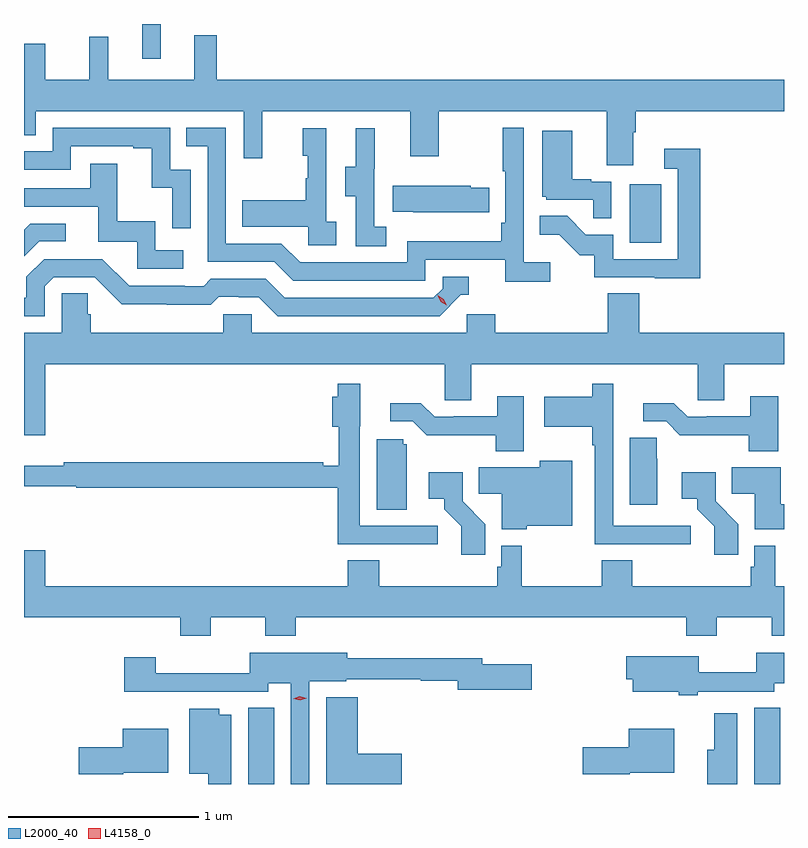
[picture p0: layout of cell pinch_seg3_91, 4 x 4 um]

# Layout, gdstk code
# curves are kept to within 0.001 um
import gdstk
lib = gdstk.Library(unit=1e-6, precision=1e-09)
def R(c, l, rs):  # rectangles x0, y0, x1, y1
    for r in rs: c.add(gdstk.rectangle(r[:2], r[2:], *l))
def P(c, l, *ps):  # polygons
    for p in ps: c.add(gdstk.Polygon(p, *l))
L2000_40 = (2000, 40)
L4158_0 = (4158, 0)

pinch_seg3_91 = lib.new_cell('pinch_seg3_91')
R(pinch_seg3_91, L2000_40, [(1065.338,720.018,1065.475,720.419), (1068.002,720.018,1068.139,720.419), (1067.348,722.868,1067.512,723.175), (1064.781,723.834,1064.878,724.018)])
P(pinch_seg3_91, L2000_40, [(1067.365,723.448),(1067.378,723.448),(1067.378,723.56),(1068.159,723.56),(1068.159,723.724),(1065.173,723.724),(1065.173,723.958),(1065.056,723.958),(1065.056,723.724),(1064.603,723.724),(1064.603,723.952),(1064.503,723.952),(1064.503,723.724),(1064.272,723.724),(1064.272,723.913),(1064.159,723.913),(1064.159,723.433),(1064.22,723.433),(1064.22,723.56),(1065.315,723.56),(1065.315,723.312),(1065.413,723.312),(1065.413,723.56),(1066.193,723.56),(1066.193,723.321),(1066.341,723.321),(1066.341,723.56),(1067.225,723.56),(1067.225,723.274),(1067.365,723.274)],
  [(1066.93,722.764),(1066.788,722.764),(1066.788,723.472),(1066.68,723.472),(1066.68,723.244),(1066.692,723.244),(1066.692,722.971),(1066.672,722.971),(1066.672,722.875),(1066.176,722.875),(1066.176,722.763),(1065.612,722.763),(1065.513,722.862),(1065.222,722.862),(1065.222,723.471),(1065.013,723.471),(1065.013,723.375),(1065.126,723.375),(1065.126,722.766),(1065.476,722.766),(1065.575,722.667),(1066.272,722.667),(1066.272,722.778),(1066.691,722.778),(1066.691,722.662),(1066.93,722.662)],
  [(1065.036,723.252),(1064.928,723.252),(1064.928,723.471),(1064.31,723.471),(1064.31,723.348),(1064.159,723.348),(1064.159,723.252),(1064.406,723.252),(1064.406,723.375),(1064.735,723.375),(1064.735,723.363),(1064.831,723.363),(1064.831,723.155),(1064.94,723.155),(1064.94,722.943),(1065.036,722.943)],
  [(1065.802,722.978),(1065.75,722.978),(1065.75,723.469),(1065.626,723.469),(1065.626,723.324),(1065.652,723.324),(1065.652,723.206),(1065.642,723.206),(1065.642,723.091),(1065.307,723.091),(1065.307,722.951),(1065.654,722.951),(1065.654,722.853),(1065.802,722.853)],
  [(1066.066,722.951),(1066.002,722.951),(1066.002,723.255),(1066.004,723.255),(1066.004,723.469),(1065.905,723.469),(1065.905,723.267),(1065.851,723.267),(1065.851,723.112),(1065.906,723.112),(1065.906,722.848),(1066.066,722.848)],
  [(1067.25,723.189),(1067.144,723.189),(1067.144,723.202),(1067.044,723.202),(1067.044,723.457),(1066.886,723.457),(1066.886,723.108),(1066.908,723.108),(1066.908,723.093),(1067.155,723.093),(1067.155,722.995),(1067.25,722.995)],
  [(1067.717,723.361),(1067.529,723.361),(1067.529,723.255),(1067.601,723.255),(1067.601,722.781),(1067.259,722.781),(1067.259,722.91),(1067.115,722.91),(1067.017,723.008),(1066.873,723.008),(1066.873,722.909),(1066.977,722.909),(1067.084,722.802),(1067.161,722.802),(1067.161,722.685),(1067.479,722.685),(1067.479,722.68),(1067.717,722.68)],
  [(1064.998,722.826),(1064.85,722.826),(1064.85,722.98),(1064.651,722.98),(1064.651,723.283),(1064.507,723.283),(1064.507,723.153),(1064.159,723.153),(1064.159,723.057),(1064.549,723.057),(1064.549,722.871),(1064.754,722.871),(1064.754,722.73),(1064.998,722.73)],
  [(1066.607,723.156),(1066.509,723.156),(1066.509,723.166),(1066.099,723.166),(1066.099,723.029),(1066.207,723.029),(1066.207,723.026),(1066.607,723.026)],
  [(1064.238,722.874),(1064.38,722.874),(1064.38,722.967),(1064.192,722.967),(1064.159,722.934),(1064.159,722.795)],
  [(1064.268,722.637),(1064.316,722.685),(1064.532,722.685),(1064.674,722.543),(1064.91,722.543),(1064.91,722.541),(1065.143,722.541),(1065.185,722.583),(1065.288,722.583),(1065.288,722.58),(1065.395,722.58),(1065.494,722.481),(1066.347,722.481),(1066.458,722.592),(1066.501,722.592),(1066.501,722.688),(1066.362,722.688),(1066.362,722.625),(1066.314,722.577),(1065.531,722.577),(1065.432,722.676),(1065.143,722.676),(1065.104,722.637),(1065.005,722.637),(1065.005,722.64),(1064.712,722.64),(1064.571,722.781),(1064.265,722.781),(1064.171,722.687),(1064.171,722.577),(1064.159,722.577),(1064.159,722.481),(1064.268,722.481)],
  [(1064.159,721.854),(1064.272,721.854),(1064.272,722.228),(1066.374,722.228),(1066.374,722.038),(1066.513,722.038),(1066.513,722.228),(1067.706,722.228),(1067.706,722.038),(1067.845,722.038),(1067.845,722.228),(1068.159,722.228),(1068.159,722.392),(1067.396,722.392),(1067.396,722.6),(1067.231,722.6),(1067.231,722.392),(1066.64,722.392),(1066.64,722.49),(1066.488,722.49),(1066.488,722.392),(1065.357,722.392),(1065.357,722.49),(1065.207,722.49),(1065.207,722.392),(1064.51,722.392),(1064.51,722.49),(1064.495,722.49),(1064.495,722.6),(1064.358,722.6),(1064.358,722.392),(1064.159,722.392)],
  [(1067.668,721.377),(1067.259,721.377),(1067.259,721.902),(1067.26,721.902),(1067.26,722.125),(1067.151,722.125),(1067.151,722.056),(1066.896,722.056),(1066.896,721.898),(1067.151,721.898),(1067.151,721.802),(1067.163,721.802),(1067.163,721.281),(1067.443,721.281),(1067.443,721.279),(1067.668,721.279)],
  [(1066.336,721.377),(1065.927,721.377),(1065.927,721.902),(1065.928,721.902),(1065.928,722.125),(1065.811,722.125),(1065.811,722.056),(1065.782,722.056),(1065.782,721.898),(1065.815,721.898),(1065.815,721.694),(1065.734,721.694),(1065.734,721.712),(1064.368,721.712),(1064.368,721.693),(1064.159,721.693),(1064.159,721.584),(1064.434,721.584),(1064.434,721.576),(1065.811,721.576),(1065.811,721.281),(1066.111,721.281),(1066.111,721.279),(1066.336,721.279)],
  [(1066.789,722.059),(1066.649,722.059),(1066.649,721.953),(1066.42,721.953),(1066.42,721.95),(1066.32,721.95),(1066.247,722.023),(1066.086,722.023),(1066.086,721.926),(1066.206,721.926),(1066.279,721.853),(1066.642,721.854),(1066.642,721.769),(1066.789,721.769)],
  [(1068.129,722.059),(1067.981,722.059),(1067.981,721.953),(1067.752,721.953),(1067.752,721.95),(1067.652,721.95),(1067.579,722.023),(1067.418,722.023),(1067.418,721.926),(1067.538,721.926),(1067.611,721.853),(1067.974,721.854),(1067.974,721.769),(1068.129,721.769)],
  [(1067.491,721.73),(1067.49,721.73),(1067.49,721.841),(1067.348,721.841),(1067.348,721.488),(1067.491,721.488)],
  [(1066.174,721.806),(1066.155,721.806),(1066.155,721.833),(1066.016,721.833),(1066.016,721.462),(1066.174,721.462)],
  [(1066.806,721.376),(1067.044,721.376),(1067.044,721.72),(1066.874,721.72),(1066.874,721.684),(1066.552,721.684),(1066.552,721.546),(1066.673,721.546),(1066.673,721.358),(1066.806,721.358)],
  [(1068.159,721.49),(1068.142,721.49),(1068.142,721.684),(1067.884,721.684),(1067.884,721.546),(1068.005,721.546),(1068.005,721.358),(1068.159,721.358)],
  [(1067.918,721.386),(1067.799,721.505),(1067.799,721.66),(1067.622,721.66),(1067.622,721.52),(1067.702,721.52),(1067.702,721.465),(1067.793,721.375),(1067.793,721.224),(1067.918,721.224)],
  [(1066.586,721.386),(1066.467,721.505),(1066.467,721.66),(1066.29,721.66),(1066.29,721.52),(1066.37,721.52),(1066.37,721.465),(1066.461,721.375),(1066.461,721.224),(1066.586,721.224)],
  [(1065.141,720.896),(1065.43,720.896),(1065.43,720.797),(1065.59,720.797),(1065.59,720.896),(1067.645,720.896),(1067.645,720.797),(1067.805,720.797),(1067.805,720.896),(1068.094,720.896),(1068.094,720.797),(1068.159,720.797),(1068.159,721.06),(1068.112,721.06),(1068.112,721.273),(1068.003,721.273),(1068.003,721.161),(1067.983,721.161),(1067.983,721.06),(1067.36,721.06),(1067.36,721.196),(1067.2,721.196),(1067.2,721.06),(1066.78,721.06),(1066.78,721.273),(1066.671,721.273),(1066.671,721.161),(1066.651,721.161),(1066.651,721.06),(1066.028,721.06),(1066.028,721.196),(1065.863,721.196),(1065.863,721.06),(1064.272,721.06),(1064.272,721.249),(1064.159,721.249),(1064.159,720.896),(1064.981,720.896),(1064.981,720.797),(1065.141,720.797)],
  [(1065.66,720.56),(1065.855,720.56),(1065.855,720.57),(1066.246,720.57),(1066.246,720.562),(1066.442,720.562),(1066.442,720.515),(1066.831,720.515),(1066.831,720.649),(1066.57,720.649),(1066.57,720.68),(1065.859,720.68),(1065.859,720.709),(1065.348,720.709),(1065.348,720.602),(1064.852,720.602),(1064.852,720.685),(1064.687,720.685),(1064.687,720.503),(1064.933,720.503),(1064.933,720.504),(1065.444,720.504),(1065.444,720.548),(1065.564,720.548),(1065.564,720.018),(1065.66,720.018)],
  [(1067.706,720.504),(1068.108,720.504),(1068.108,720.548),(1068.159,720.548),(1068.159,720.709),(1068.012,720.709),(1068.012,720.605),(1067.71,720.605),(1067.71,720.691),(1067.33,720.691),(1067.33,720.569),(1067.363,720.569),(1067.363,720.503),(1067.606,720.503),(1067.606,720.484),(1067.706,720.484)],
  [(1066.147,720.177),(1065.916,720.177),(1065.916,720.475),(1065.749,720.475),(1065.749,720.018),(1066.147,720.018)],
  [(1065.25,720.382),(1065.187,720.382),(1065.187,720.415),(1065.029,720.415),(1065.029,720.071),(1065.128,720.071),(1065.128,720.018),(1065.25,720.018)],
  [(1067.914,720.391),(1067.792,720.391),(1067.792,720.199),(1067.756,720.199),(1067.756,720.018),(1067.914,720.018)],
  [(1067.346,720.077),(1067.581,720.077),(1067.581,720.31),(1067.342,720.31),(1067.342,720.212),(1067.1,720.212),(1067.1,720.07),(1067.346,720.07)],
  [(1064.682,720.077),(1064.917,720.077),(1064.917,720.31),(1064.678,720.31),(1064.678,720.212),(1064.448,720.212),(1064.448,720.07),(1064.682,720.07)])
P(pinch_seg3_91, L4158_0, [(1066.384,722.538),(1066.353,722.557),(1066.337,722.589),(1066.337,722.59),(1066.337,722.59),(1066.368,722.57),(1066.384,722.538),(1066.384,722.538)],
  [(1065.612,720.459),(1065.577,720.468),(1065.576,720.468),(1065.577,720.468),(1065.611,720.479),(1065.646,720.47),(1065.647,720.47),(1065.646,720.47)])

lib.write_gds('pinch_seg3_91.gds')
